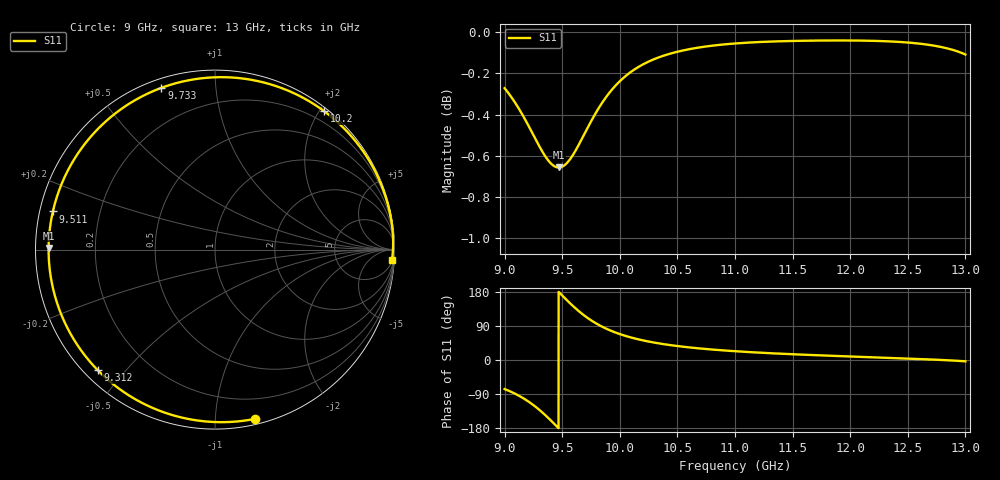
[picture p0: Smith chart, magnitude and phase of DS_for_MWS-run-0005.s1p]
! TOUCHSTONE file generated by CST DESIGN STUDIO
! Date and time: Tue Feb  4 14:23:02 2025
! Project name: C:\Work\MatlabApps\UnitCellOptimizationMatlab\CST\unitcell.cst
! Tree item: Tasks\Sweep1\SPara1\S-Parameters
! Header version: 2024
! Port assignment regex: !\s*Touchstone port\s*([0-9]+)\s*=\s*(CST MWS port|CST DES external port|CST DES block port)\s*(.+)\s* \(\"(.*)\"\)(\s*mode\s*([0-9]+))?.*
! Touchstone port assignment:
! Touchstone port 1 = CST DES external port 1 ("")
# GHz S MA R 50
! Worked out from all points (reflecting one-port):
!   4001 points, 9 GHz to 13 GHz, reference 50 ohm
!   lowest |S11| = -0.7 dB at 9.47 GHz (marker M1), VSWR 26.45, Z = 1.89 + j0.245 ohm
!   phase of S11 starts at -77 deg and turns -287 deg over the sweep
!   S11 on the Smith chart (normalised r, x): 9 GHz: 0.04, -1.26; 9.312 GHz: 0.04, -0.42; 9.511 GHz: 0.04, +0.12; 9.733 GHz: 0.04, +0.72; 10.2 GHz: 0.05, +2.06; 13 GHz: 6, -31
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9  0.9692 -76.7
9.08  0.9624 -87.3
9.178  0.9524 -103.9
9.247  0.9445 -118.3
9.312  0.9371 -134.3
9.397  0.9295 -158.2
9.434  0.9277 -169.4
9.47  0.9272 179.4
9.5  0.9276 170.2
9.511  0.9279 166.8
9.563  0.931 151.2
9.624  0.9368 134.1
9.677  0.9429 120.8
9.733  0.9494 108.3
9.786  0.9553 98.0
9.845  0.9612 88.1
9.921  0.9676 77.5
10  0.973 68.4
10.095  0.978 59.6
10.201  0.9822 51.8
10.338  0.9861 43.9
10.5  0.9892 36.8
10.722  0.9919 29.7
11  0.9938 23.2
11.5  0.9952 15.2
12  0.9954 9.3
12.5  0.9943 3.9
13  0.9877 -3.5
